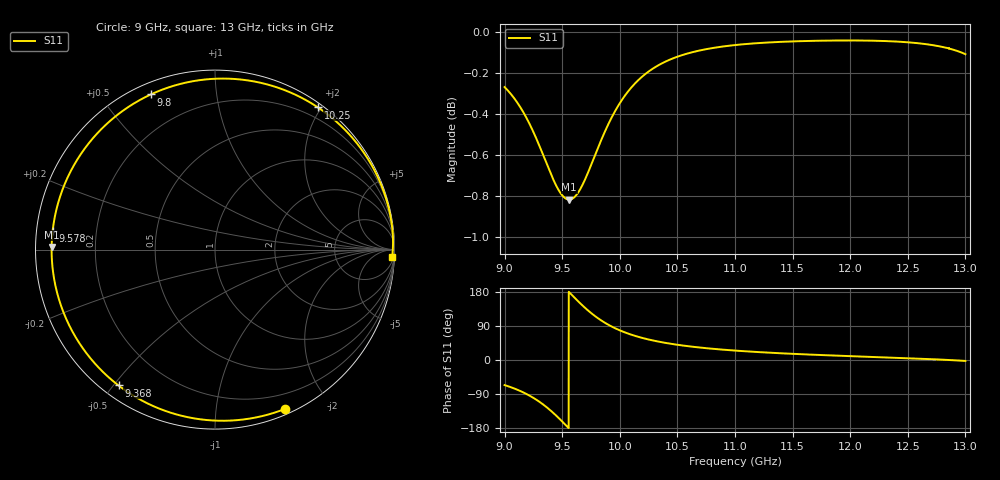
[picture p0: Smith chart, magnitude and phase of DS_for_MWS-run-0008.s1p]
! TOUCHSTONE file generated by CST DESIGN STUDIO
! Date and time: Tue Feb  4 17:54:12 2025
! Project name: C:\Work\MatlabApps\UnitCellOptimizationMatlab\CST\unitcell.cst
! Tree item: Tasks\Sweep1\SPara1\S-Parameters
! Header version: 2024
! Port assignment regex: !\s*Touchstone port\s*([0-9]+)\s*=\s*(CST MWS port|CST DES external port|CST DES block port)\s*(.+)\s* \(\"(.*)\"\)(\s*mode\s*([0-9]+))?.*
! Touchstone port assignment:
! Touchstone port 1 = CST DES external port 1 ("")
# GHz S MA R 50
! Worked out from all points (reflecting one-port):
!   4001 points, 9 GHz to 13 GHz, reference 50 ohm
!   lowest |S11| = -0.8 dB at 9.56 GHz (marker M1), VSWR 21.31, Z = 2.35 + j0.415 ohm
!   phase of S11 starts at -66 deg and turns -296 deg over the sweep
!   S11 on the Smith chart (normalised r, x): 9 GHz: 0.05, -1.53; 9.368 GHz: 0.05, -0.52; 9.578 GHz: 0.05, +0.06; 9.8 GHz: 0.05, +0.67; 10.25 GHz: 0.05, +1.96; 13 GHz: 12, -43
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9  0.9695 -66.2
9.042  0.9667 -70.5
9.108  0.9613 -78.1
9.221  0.9492 -94.8
9.299  0.9386 -109.6
9.368  0.9284 -125.4
9.432  0.9194 -142.3
9.5  0.9125 -162.3
9.53  0.9109 -171.6
9.56  0.9103 179.0
9.578  0.9105 173.4
9.632  0.9134 156.8
9.694  0.9201 138.8
9.746  0.9274 125.1
9.8  0.9355 112.5
9.843  0.9418 103.5
9.889  0.9481 95.0
10  0.9608 78.2
10.117  0.9705 65.1
10.25  0.978 54.1
10.366  0.9825 46.8
10.5  0.9861 40.2
10.721  0.9899 32.1
11  0.9926 24.9
11.5  0.9946 16.3
12  0.9951 10.2
12.5  0.9941 4.7
13  0.9875 -2.5
